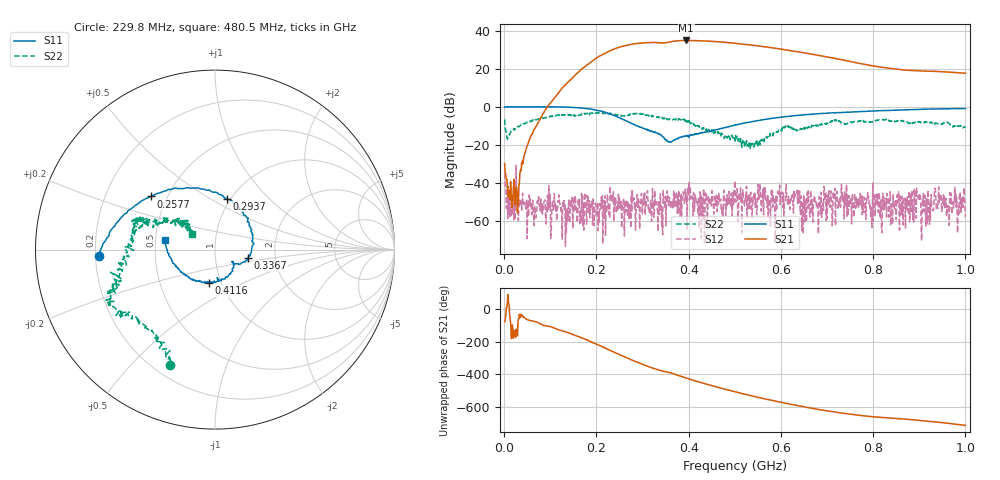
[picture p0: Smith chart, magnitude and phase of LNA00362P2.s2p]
! Created with skrf 1.9.0 (http://scikit-rf.org).
# Hz S RI R 50.0
!freq ReS11 ImS11 ReS21 ImS21 ReS12 ImS12 ReS22 ImS22
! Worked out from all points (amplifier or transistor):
!   1001 points, 1 MHz to 1 GHz, reference 50 ohm
!   highest |S21| = 35.0 dB at 394.6 MHz (marker M1)
!   |S21| within 3 dB of that: 258.1 MHz to 554.5 MHz (296.4 MHz wide, 72.9 % of centre)
!   unconditionally stable (mu >= 1): 236.9 MHz to 321.6 MHz; 321.7 MHz to 400.6 MHz; 400.6 MHz to end of sweep (the widest 3 of 28)
!   at 166.8 MHz: K = 4.82, MAG = 30.6 dB, |S12| = -61.3 dB
!   at 500.5 MHz: K = 1.06, MAG = 34.7 dB, |S12| = -39.0 dB
!   at 1 GHz: K = 8.81, MAG = 25.5 dB, |S12| = -58.2 dB
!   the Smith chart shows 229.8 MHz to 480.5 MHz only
!   S11 on the Smith chart (normalised r, x): 229.8 MHz: 0.22, -0.02; 257.7 MHz: 0.41, +0.31; 293.7 MHz: 0.96, +0.59; 336.7 MHz: 1.44, -0.14; 411.6 MHz: 0.87, -0.34; 480.5 MHz: 0.56, +0.06
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1000000  0.9668 0.00299  0.00617 -0.0313  -0.016 0.0078  0.3567 0.3007
1.08892e8  0.5103 -0.8552  -0.802 -1.503  0.00514 -0.000684  0.4387 -0.3577
1.67833e8  -0.2506 -0.8922  -9.795 -0.5472  -0.00524 0.000527  0.0627 -0.6304
2.04796e8  -0.6548 -0.4525  -15.79 13.83  -0.00167 0.000211  -0.1585 -0.6902
2.29771e8  -0.645 -0.0335  -8.56 28.82  -0.00286 -0.0075  -0.2487 -0.6417
2.57743e8  -0.3571 0.2961  12.86 37.57  0.000842 -0.00188  -0.3887 -0.4341
2.93707e8  0.0647 0.2843  41.52 22.99  -2.61e-05 -0.000592  -0.5888 -0.2873
3.13687e8  0.1902 0.1454  49.05 5.901  -0.00159 0.00177  -0.5594 -0.1933
3.34666e8  0.1965 -0.0345  47.83 -10.9  -0.00165 0.00303  -0.5085 -0.0789
3.36664e8  0.1846 -0.0465  47.41 -12.29  -0.00135 0.00173  -0.5249 -0.0749
3.68632e8  0.1023 -0.082  43.14 -32.42  0.00164 0.00182  -0.4508 0.1262
3.94606e8  0.0426 -0.1653  26.8 -49.38  0.00166 0.00303  -0.4031 0.1624
4.11589e8  -0.0346 -0.1857  13.27 -54.03  -0.000995 0.00466  -0.2812 0.1638
4.43557e8  -0.1889 -0.1215  -11.48 -52.41  0.00321 0.00244  -0.2007 0.1566
4.8052e8  -0.2806 0.0517  -32.49 -38.19  0.00137 9.11e-06  -0.1306 0.0887
5.005e8  -0.2866 0.1723  -38.99 -27.22  0.0102 0.00482  -0.1113 0.0584
5.36464e8  -0.1994 0.3526  -41.49 -7.692  0.00317 0.000298  -0.1009 -0.0195
5.84416e8  0.0173 0.5039  -33.57 11.89  0.00209 -0.00363  -0.1896 -0.0769
6.67333e8  0.4106 0.4868  -10.15 22.03  -0.00361 -0.000186  -0.3203 -0.0179
7.37263e8  0.6365 0.3286  1.87 16.7  0.000256 -0.00107  -0.352 0.0628
8.34166e8  0.8021 0.0238  5.849 8.625  -0.000893 0.000846  -0.338 0.2575
1e9  0.7301 -0.531  7.615 1.399  -0.00047 0.00114  -0.00678 0.2905
